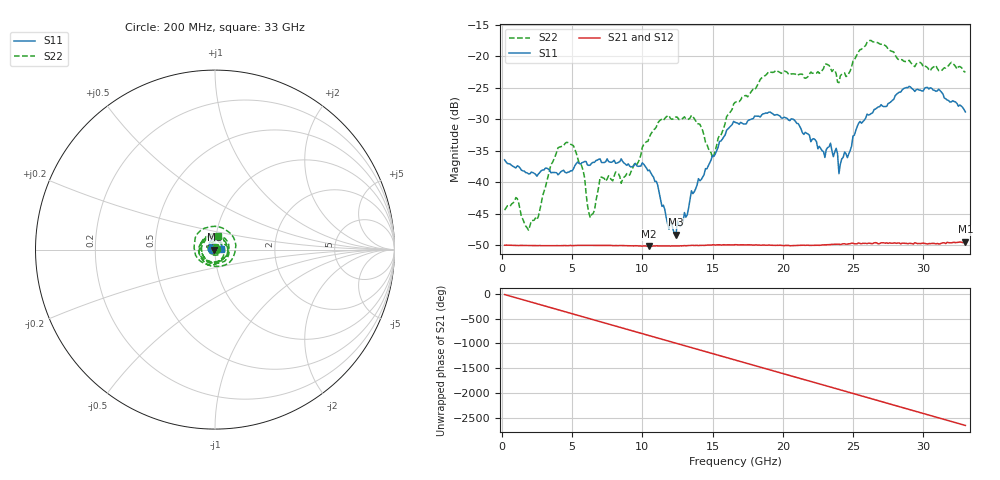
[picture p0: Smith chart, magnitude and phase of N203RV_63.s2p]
# GHZ S RI R 50
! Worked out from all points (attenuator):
!   329 points, 200 MHz to 33 GHz, reference 50 ohm
!   highest |S21| = -49.41 dB at 33 GHz (marker M1); lowest = -50.1 dB at 10.5 GHz (marker M2)
!   lowest |S11| = -48.3 dB at 12.4 GHz (marker M3), VSWR 1.01, Z = 49.6 - j0.0469 ohm
!   |S11| at or under -10 dB: start of sweep to end of sweep
!   |S22| runs from -47.6 to -17.5 dB; largest |S21 - S12| = 7.2e-05
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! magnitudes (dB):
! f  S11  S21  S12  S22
! 200 MHz  -36.4  -50.0  -50.0  -44.4
! 1.1 GHz  -37.4  -50.0  -50.0  -42.6
! 1.9 GHz  -38.7  -50.0  -50.0  -47.6
! 4 GHz  -38.8  -50.1  -50.0  -34.5
! 5.7 GHz  -36.9  -50.0  -50.0  -37.5
! 6.3 GHz  -37.3  -50.0  -50.0  -45.6
! 7 GHz  -36.3  -50.0  -50.0  -39.2
! 8.5 GHz  -36.3  -50.0  -50.0  -40.2
! 10.5 GHz  -38.1  -50.1  -50.1  -32.9
! 11.2 GHz  -41.6  -50.1  -50.1  -30.3
! 12.4 GHz  -48.3  -50.1  -50.1  -29.6
! 14.1 GHz  -39.8  -50.0  -50.0  -30.8
! 15 GHz  -35.7  -49.9  -49.9  -36.2
! 16.6 GHz  -30.5  -49.9  -49.9  -27.3
! 19 GHz  -28.9  -49.9  -49.9  -22.5
! 22.1 GHz  -33.2  -50.0  -50.0  -22.7
! 23.8 GHz  -34.6  -49.8  -49.8  -22.8
! 24 GHz  -38.6  -49.8  -49.8  -24.2
! 25.4 GHz  -30.6  -49.6  -49.6  -19.3
! 27.6 GHz  -27.4  -49.6  -49.6  -19.1
! 30.3 GHz  -24.9  -49.8  -49.8  -21.8
! 33 GHz  -28.8  -49.4  -49.4  -22.5
